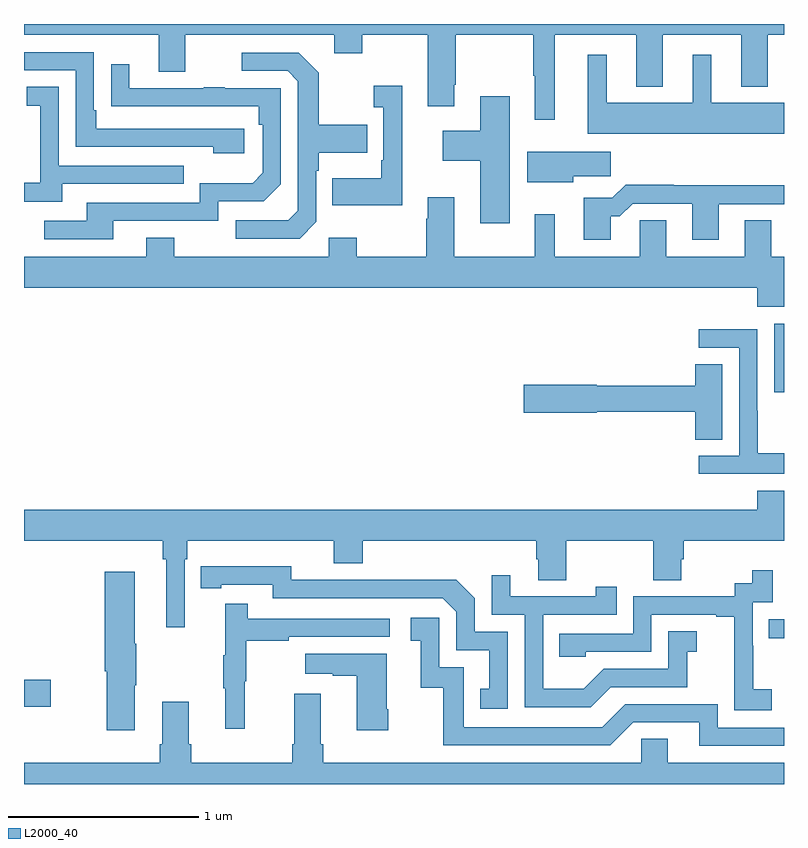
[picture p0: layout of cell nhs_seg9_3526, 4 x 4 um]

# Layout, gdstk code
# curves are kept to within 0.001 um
import gdstk
lib = gdstk.Library(unit=1e-6, precision=1e-09)
def R(c, l, rs):  # rectangles x0, y0, x1, y1
    for r in rs: c.add(gdstk.rectangle(r[:2], r[2:], *l))
def P(c, l, *ps):  # polygons
    for p in ps: c.add(gdstk.Polygon(p, *l))
L2000_40 = (2000, 40)

nhs_seg9_3526 = lib.new_cell('nhs_seg9_3526')
R(nhs_seg9_3526, L2000_40, [(313,1168.906,313.141,1169.048), (316.921,1169.266,317,1169.367), (316.949,1170.561,317,1170.922)])
P(nhs_seg9_3526, L2000_40, [(315.793,1172.444),(316.223,1172.444),(316.223,1172.171),(316.363,1172.171),(316.363,1172.444),(316.775,1172.444),(316.775,1172.171),(316.915,1172.171),(316.915,1172.444),(317,1172.444),(317,1172.5),(313,1172.5),(313,1172.444),(313.709,1172.444),(313.709,1172.25),(313.849,1172.25),(313.849,1172.444),(314.633,1172.444),(314.633,1172.345),(314.781,1172.345),(314.781,1172.444),(315.125,1172.444),(315.125,1172.067),(315.265,1172.067),(315.265,1172.179),(315.273,1172.179),(315.273,1172.444),(315.679,1172.444),(315.679,1172.228),(315.689,1172.228),(315.689,1171.995),(315.793,1171.995)],
  [(314.158,1171.95),(313.381,1171.95),(313.381,1172.047),(313.368,1172.047),(313.368,1172.352),(313,1172.352),(313,1172.256),(313.272,1172.256),(313.272,1171.854),(313.997,1171.854),(313.997,1171.82),(314.158,1171.82)],
  [(314.538,1171.458),(314.538,1171.727),(314.551,1171.727),(314.551,1171.823),(314.807,1171.823),(314.807,1171.971),(314.551,1171.971),(314.551,1172.243),(314.445,1172.349),(314.145,1172.349),(314.145,1172.253),(314.388,1172.253),(314.442,1172.199),(314.442,1171.518),(314.391,1171.467),(314.115,1171.467),(314.115,1171.371),(314.451,1171.371)],
  [(317,1172.086),(316.618,1172.086),(316.618,1172.338),(316.52,1172.338),(316.52,1172.086),(316.066,1172.086),(316.066,1172.338),(315.968,1172.338),(315.968,1171.922),(317,1171.922)],
  [(313.471,1171.464),(314.022,1171.464),(314.022,1171.566),(314.262,1171.566),(314.352,1171.656),(314.352,1172.163),(314.057,1172.163),(314.057,1172.168),(313.945,1172.168),(313.945,1172.163),(313.555,1172.163),(313.555,1172.287),(313.459,1172.287),(313.459,1172.068),(314.236,1172.067),(314.236,1171.97),(314.256,1171.97),(314.256,1171.716),(314.203,1171.663),(313.926,1171.663),(313.926,1171.56),(313.331,1171.56),(313.331,1171.464),(313.107,1171.464),(313.107,1171.368),(313.471,1171.368)],
  [(314.99,1172.176),(314.841,1172.176),(314.841,1172.063),(314.892,1172.063),(314.892,1171.783),(314.88,1171.783),(314.88,1171.687),(314.623,1171.687),(314.623,1171.547),(314.99,1171.547)],
  [(313.201,1171.659),(313.841,1171.659),(313.841,1171.755),(313.182,1171.755),(313.182,1172.171),(313.014,1172.171),(313.014,1172.07),(313.086,1172.07),(313.086,1171.665),(313,1171.665),(313,1171.565),(313.201,1171.565)],
  [(315.556,1172.119),(315.401,1172.119),(315.401,1171.939),(315.204,1171.939),(315.204,1171.781),(315.401,1171.781),(315.401,1171.452),(315.556,1171.452)],
  [(315.892,1171.699),(316.087,1171.699),(316.087,1171.828),(315.648,1171.828),(315.648,1171.667),(315.892,1171.667)],
  [(316.087,1171.487),(316.136,1171.487),(316.203,1171.554),(316.517,1171.554),(316.517,1171.365),(316.657,1171.365),(316.657,1171.551),(317,1171.551),(317,1171.652),(316.421,1171.652),(316.421,1171.655),(316.166,1171.655),(316.096,1171.585),(315.947,1171.585),(315.947,1171.365),(316.087,1171.365)],
  [(317,1171.276),(316.933,1171.276),(316.933,1171.466),(316.793,1171.466),(316.793,1171.276),(316.381,1171.276),(316.381,1171.466),(316.242,1171.466),(316.242,1171.276),(315.793,1171.276),(315.793,1171.498),(315.689,1171.498),(315.689,1171.276),(315.265,1171.276),(315.265,1171.588),(315.125,1171.588),(315.125,1171.475),(315.118,1171.475),(315.118,1171.276),(314.751,1171.276),(314.751,1171.375),(314.604,1171.375),(314.604,1171.276),(313.791,1171.276),(313.791,1171.375),(313.643,1171.375),(313.643,1171.276),(313,1171.276),(313,1171.112),(316.859,1171.112),(316.859,1171.013),(317,1171.013)],
  [(317,1170.241),(316.863,1170.241),(316.863,1170.464),(316.86,1170.464),(316.86,1170.894),(316.551,1170.894),(316.551,1170.795),(316.764,1170.795),(316.764,1170.228),(316.551,1170.228),(316.551,1170.132),(317,1170.132)],
  [(316.675,1170.71),(316.532,1170.71),(316.532,1170.596),(316.014,1170.596),(316.014,1170.602),(315.63,1170.602),(315.63,1170.455),(316.014,1170.455),(316.014,1170.46),(316.532,1170.46),(316.532,1170.313),(316.675,1170.313)],
  [(313.845,1169.684),(313.859,1169.684),(313.859,1169.78),(314.63,1169.78),(314.63,1169.663),(314.783,1169.663),(314.783,1169.78),(315.695,1169.78),(315.695,1169.682),(315.707,1169.682),(315.707,1169.572),(315.855,1169.572),(315.855,1169.78),(316.312,1169.78),(316.312,1169.572),(316.459,1169.572),(316.459,1169.682),(316.472,1169.682),(316.472,1169.78),(317,1169.78),(317,1170.043),(316.859,1170.043),(316.859,1169.944),(313,1169.944),(313,1169.78),(313.729,1169.78),(313.729,1169.684),(313.748,1169.684),(313.748,1169.325),(313.845,1169.325)],
  [(315.546,1169.301),(315.372,1169.301),(315.372,1169.478),(315.274,1169.576),(314.866,1169.576),(314.866,1169.574),(314.406,1169.574),(314.406,1169.647),(313.93,1169.646),(313.93,1169.53),(314.038,1169.53),(314.038,1169.55),(314.31,1169.55),(314.31,1169.478),(315.204,1169.478),(315.276,1169.406),(315.276,1169.205),(315.449,1169.205),(315.449,1169.001),(315.4,1169.001),(315.4,1168.896),(315.546,1168.896)],
  [(316.936,1168.999),(316.838,1168.999),(316.838,1169.228),(316.836,1169.228),(316.836,1169.457),(316.941,1169.457),(316.941,1169.626),(316.833,1169.626),(316.833,1169.556),(316.74,1169.556),(316.74,1169.487),(316.206,1169.487),(316.206,1169.292),(315.817,1169.292),(315.817,1169.169),(315.957,1169.169),(315.957,1169.196),(316.302,1169.196),(316.302,1169.391),(316.643,1169.391),(316.643,1169.379),(316.739,1169.379),(316.739,1169.095),(316.738,1169.095),(316.738,1168.889),(316.936,1168.889)],
  [(313.582,1169.02),(313.59,1169.02),(313.59,1169.237),(313.582,1169.237),(313.582,1169.617),(313.424,1169.617),(313.424,1169.094),(313.436,1169.094),(313.436,1168.782),(313.582,1168.782)],
  [(316.087,1169.01),(316.491,1169.01),(316.491,1169.195),(316.54,1169.195),(316.54,1169.305),(316.392,1169.305),(316.392,1169.106),(316.05,1169.106),(315.946,1169.002),(315.732,1169.002),(315.732,1169.391),(316.121,1169.391),(316.121,1169.539),(316.01,1169.539),(316.01,1169.487),(315.559,1169.487),(315.559,1169.599),(315.462,1169.599),(315.462,1169.391),(315.636,1169.391),(315.636,1168.905),(315.982,1168.905)],
  [(314.162,1169.04),(314.17,1169.04),(314.17,1169.254),(314.393,1169.254),(314.393,1169.274),(314.926,1169.274),(314.926,1169.37),(314.177,1169.37),(314.177,1169.449),(314.06,1169.449),(314.06,1169.177),(314.049,1169.177),(314.049,1169.003),(314.06,1169.003),(314.06,1168.791),(314.162,1168.791)],
  [(317,1168.797),(316.65,1168.797),(316.65,1168.92),(316.164,1168.92),(316.044,1168.8),(315.315,1168.8),(315.315,1169.115),(315.186,1169.115),(315.186,1169.374),(315.036,1169.374),(315.036,1169.253),(315.089,1169.253),(315.089,1169.007),(315.207,1169.007),(315.207,1168.704),(316.086,1168.704),(316.206,1168.824),(316.553,1168.824),(316.553,1168.701),(317,1168.701)],
  [(314.916,1168.894),(314.908,1168.894),(314.908,1169.185),(314.481,1169.185),(314.481,1169.081),(314.624,1169.081),(314.624,1169.071),(314.75,1169.071),(314.75,1168.782),(314.916,1168.782)],
  [(317,1168.612),(316.387,1168.612),(316.387,1168.739),(316.248,1168.739),(316.248,1168.612),(314.576,1168.612),(314.576,1168.708),(314.563,1168.708),(314.563,1168.975),(314.423,1168.975),(314.423,1168.708),(314.411,1168.708),(314.411,1168.612),(313.88,1168.612),(313.88,1168.708),(313.867,1168.708),(313.867,1168.933),(313.727,1168.933),(313.727,1168.708),(313.715,1168.708),(313.715,1168.612),(313,1168.612),(313,1168.5),(317,1168.5)])

lib.write_gds('nhs_seg9_3526.gds')
